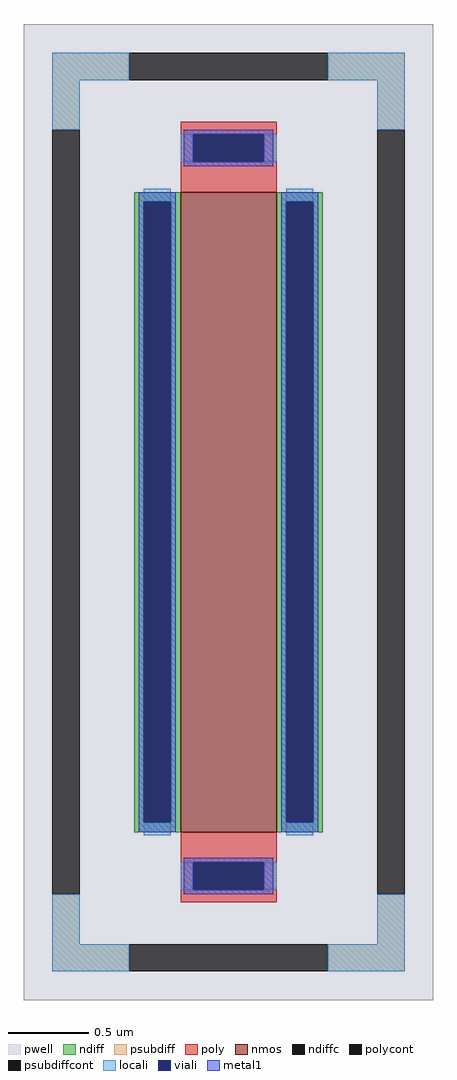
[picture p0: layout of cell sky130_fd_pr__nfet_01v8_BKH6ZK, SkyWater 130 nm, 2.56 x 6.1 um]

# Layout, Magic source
magic
tech sky130A
<< pwell >>
rect -128 -305 128 305
<< nmos >>
rect -30 -200 30 200
<< ndiff >>
rect -59 194 -30 200
rect -59 -194 -53 194
rect -36 -194 -30 194
rect -59 -200 -30 -194
rect 30 194 59 200
rect 30 -194 36 194
rect 53 -194 59 194
rect 30 -200 59 -194
<< ndiffc >>
rect -53 -194 -36 194
rect 36 -194 53 194
<< psubdiff >>
rect -110 270 -62 287
rect 62 270 110 287
rect -110 239 -93 270
rect 93 239 110 270
rect -110 -270 -93 -239
rect 93 -270 110 -239
rect -110 -287 -62 -270
rect 62 -287 110 -270
<< psubdiffcont >>
rect -62 270 62 287
rect -110 -239 -93 239
rect 93 -239 110 239
rect -62 -287 62 -270
<< poly >>
rect -30 236 30 244
rect -30 219 -22 236
rect 22 219 30 236
rect -30 200 30 219
rect -30 -219 30 -200
rect -30 -236 -22 -219
rect 22 -236 30 -219
rect -30 -244 30 -236
<< polycont >>
rect -22 219 22 236
rect -22 -236 22 -219
<< locali >>
rect -110 270 -62 287
rect 62 270 110 287
rect -110 239 -93 270
rect 93 239 110 270
rect -30 219 -22 236
rect 22 219 30 236
rect -53 194 -36 202
rect -53 -202 -36 -194
rect 36 194 53 202
rect 36 -202 53 -194
rect -30 -236 -22 -219
rect 22 -236 30 -219
rect -110 -270 -93 -239
rect 93 -270 110 -239
rect -110 -287 -62 -270
rect 62 -287 110 -270
<< viali >>
rect -22 219 22 236
rect -53 -194 -36 194
rect 36 -194 53 194
rect -22 -236 22 -219
<< metal1 >>
rect -28 236 28 239
rect -28 219 -22 236
rect 22 219 28 236
rect -28 216 28 219
rect -56 194 -33 200
rect -56 -194 -53 194
rect -36 -194 -33 194
rect -56 -200 -33 -194
rect 33 194 56 200
rect 33 -194 36 194
rect 53 -194 56 194
rect 33 -200 56 -194
rect -28 -219 28 -216
rect -28 -236 -22 -219
rect 22 -236 28 -219
rect -28 -239 28 -236
<< properties >>
string FIXED_BBOX -101 -278 101 278
string gencell sky130_fd_pr__nfet_01v8
string library sky130
string parameters w 4 l 0.6 m 1 nf 1 diffcov 100 polycov 100 guard 1 glc 1 grc 1 gtc 1 gbc 1 tbcov 100 rlcov 100 topc 1 botc 1 poverlap 0 doverlap 1 lmin 0.15 wmin 0.42 compatible {sky130_fd_pr__nfet_01v8 sky130_fd_pr__nfet_01v8_lvt  sky130_fd_bs_flash__special_sonosfet_star  sky130_fd_pr__nfet_g5v0d10v5 sky130_fd_pr__nfet_05v0_nvt  sky130_fd_pr__nfet_03v3_nvt} full_metal 1 viasrc 100 viadrn 100 viagate 100 viagb 0 viagr 0 viagl 0 viagt 0
<< end >>
